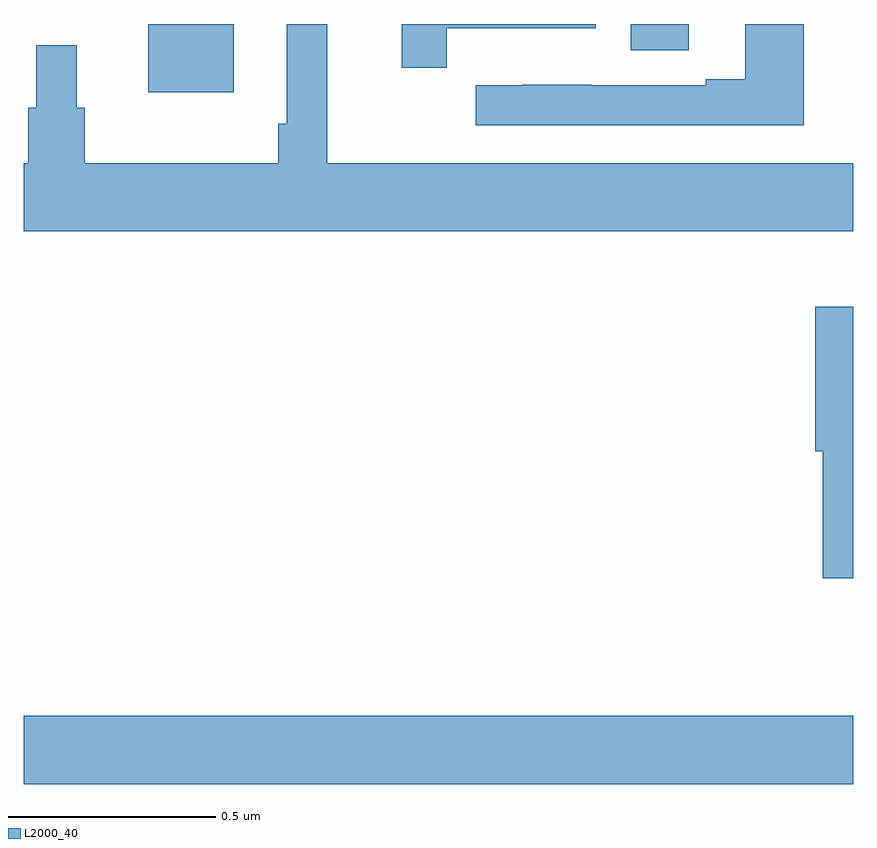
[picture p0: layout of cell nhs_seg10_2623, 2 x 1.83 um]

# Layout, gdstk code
import gdstk
lib = gdstk.Library(unit=1e-6, precision=1e-09)
def R(c, l, rs):  # rectangles x0, y0, x1, y1
    for r in rs: c.add(gdstk.rectangle(r[:2], r[2:], *l))
def P(c, l, *ps):  # polygons
    for p in ps: c.add(gdstk.Polygon(p, *l))
L2000_40 = (2000, 40)

nhs_seg10_2623 = lib.new_cell('nhs_seg10_2623')
R(nhs_seg10_2623, L2000_40, [(143,1281.668,145,1281.832), (143.3,1283.336,143.506,1283.5), (144.464,1283.437,144.603,1283.5)])
P(nhs_seg10_2623, L2000_40, [(145,1283.164),(143.732,1283.164),(143.732,1283.5),(143.634,1283.5),(143.634,1283.26),(143.614,1283.26),(143.614,1283.164),(143.147,1283.164),(143.147,1283.298),(143.128,1283.298),(143.128,1283.449),(143.03,1283.449),(143.03,1283.298),(143.011,1283.298),(143.011,1283.164),(143,1283.164),(143,1283),(145,1283)],
  [(144.02,1283.49),(144.379,1283.49),(144.379,1283.5),(143.912,1283.5),(143.912,1283.394),(144.02,1283.394)],
  [(144.88,1283.5),(144.74,1283.5),(144.74,1283.367),(144.644,1283.367),(144.644,1283.352),(144.368,1283.352),(144.368,1283.353),(144.202,1283.353),(144.202,1283.352),(144.09,1283.352),(144.09,1283.256),(144.88,1283.256)],
  [(145,1282.819),(144.908,1282.819),(144.908,1282.47),(144.926,1282.47),(144.926,1282.164),(145,1282.164)])

lib.write_gds('nhs_seg10_2623.gds')
